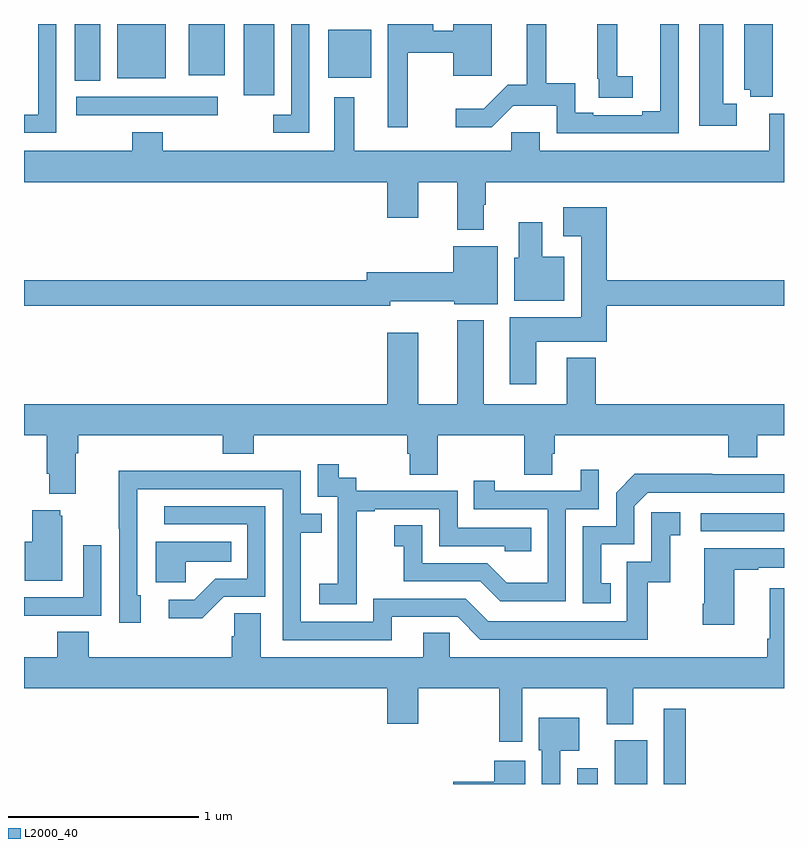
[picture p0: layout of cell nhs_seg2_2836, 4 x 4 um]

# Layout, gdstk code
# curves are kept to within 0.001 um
import gdstk
lib = gdstk.Library(unit=1e-6, precision=1e-09)
def R(c, l, rs):  # rectangles x0, y0, x1, y1
    for r in rs: c.add(gdstk.rectangle(r[:2], r[2:], *l))
def P(c, l, *ps):  # polygons
    for p in ps: c.add(gdstk.Polygon(p, *l))
L2000_40 = (2000, 40)

nhs_seg2_2836 = lib.new_cell('nhs_seg2_2836')
R(nhs_seg2_2836, L2000_40, [(261.911,645.8,262.021,645.883), (262.109,645.8,262.279,646.03), (262.368,645.8,262.484,646.195), (262.563,647.13,263,647.226), (259.275,649.32,260.02,649.416), (260.156,649.425,260.317,649.8), (259.268,649.501,259.402,649.8), (259.49,649.514,259.747,649.8), (260.6,649.517,260.827,649.771), (259.868,649.529,260.056,649.8)])
P(nhs_seg2_2836, L2000_40, [(262.75,649.38),(262.681,649.38),(262.681,649.8),(262.553,649.8),(262.553,649.265),(262.75,649.265)],
  [(262.446,649.8),(262.348,649.8),(262.349,649.34),(262.253,649.34),(262.253,649.32),(261.997,649.32),(261.997,649.334),(261.9,649.334),(261.9,649.487),(261.749,649.487),(261.749,649.8),(261.647,649.8),(261.647,649.48),(261.547,649.48),(261.421,649.354),(261.273,649.354),(261.273,649.257),(261.462,649.257),(261.575,649.37),(261.804,649.37),(261.804,649.224),(262.446,649.224)],
  [(261.019,649.648),(261.26,649.648),(261.26,649.527),(261.463,649.527),(261.463,649.8),(261.26,649.8),(261.26,649.765),(261.154,649.765),(261.154,649.8),(260.915,649.8),(260.915,649.257),(261.019,649.257)],
  [(262.204,649.526),(262.122,649.526),(262.122,649.8),(262.018,649.8),(262.018,649.513),(262.024,649.513),(262.024,649.411),(262.204,649.411)],
  [(259.17,649.8),(259.074,649.8),(259.074,649.323),(259,649.323),(259,649.227),(259.17,649.227)],
  [(260.502,649.8),(260.406,649.8),(260.406,649.323),(260.313,649.323),(260.313,649.227),(260.502,649.227)],
  [(262.942,649.8),(262.79,649.8),(262.79,649.454),(262.822,649.454),(262.822,649.417),(262.942,649.417)],
  [(260.737,649.414),(260.633,649.414),(260.633,649.132),(259.73,649.132),(259.73,649.231),(259.57,649.231),(259.57,649.132),(259,649.132),(259,648.968),(260.912,648.968),(260.912,648.78),(261.076,648.78),(261.076,648.968),(261.281,648.968),(261.281,648.716),(261.421,648.716),(261.421,648.848),(261.429,648.848),(261.429,648.968),(263,648.968),(263,649.327),(262.922,649.327),(262.922,649.132),(261.715,649.132),(261.715,649.23),(261.564,649.23),(261.564,649.132),(260.737,649.132)],
  [(261.697,648.128),(262.067,648.128),(262.067,648.316),(263,648.316),(263,648.452),(262.067,648.452),(262.067,648.835),(261.837,648.835),(261.837,648.683),(261.932,648.683),(261.932,648.256),(261.557,648.256),(261.557,647.904),(261.697,647.904)],
  [(261.844,648.574),(261.727,648.574),(261.727,648.757),(261.605,648.757),(261.605,648.57),(261.581,648.57),(261.581,648.344),(261.844,648.344)],
  [(260.928,648.341),(261.264,648.341),(261.264,648.326),(261.493,648.326),(261.493,648.631),(261.26,648.631),(261.26,648.493),(260.804,648.493),(260.804,648.452),(259,648.452),(259,648.316),(260.928,648.316)],
  [(261.634,647.428),(261.781,647.428),(261.781,647.538),(261.794,647.538),(261.794,647.636),(262.706,647.636),(262.706,647.519),(262.858,647.519),(262.858,647.636),(263,647.636),(263,647.8),(262.01,647.8),(262.01,648.043),(261.857,648.043),(261.857,647.8),(261.421,647.8),(261.421,648.241),(261.281,648.241),(261.281,647.8),(261.076,647.8),(261.076,648.175),(260.912,648.175),(260.912,647.8),(259,647.8),(259,647.636),(259.121,647.636),(259.121,647.434),(259.133,647.434),(259.133,647.327),(259.273,647.327),(259.273,647.54),(259.286,647.54),(259.286,647.636),(260.045,647.636),(260.045,647.537),(260.21,647.537),(260.21,647.636),(261.017,647.636),(261.017,647.538),(261.029,647.538),(261.029,647.428),(261.177,647.428),(261.177,647.636),(261.634,647.636)],
  [(260.751,646.951),(260.75,646.951),(260.75,647.235),(260.845,647.235),(260.845,647.247),(261.186,647.247),(261.186,647.052),(261.531,647.052),(261.531,647.025),(261.671,647.025),(261.671,647.148),(261.282,647.148),(261.282,647.343),(260.748,647.343),(260.748,647.412),(260.656,647.412),(260.656,647.482),(260.547,647.482),(260.547,647.313),(260.652,647.313),(260.652,647.084),(260.651,647.084),(260.651,646.855),(260.553,646.855),(260.553,646.745),(260.751,646.745)],
  [(261.852,647.247),(262.026,647.247),(262.026,647.455),(261.929,647.455),(261.929,647.343),(261.478,647.343),(261.478,647.395),(261.367,647.395),(261.367,647.247),(261.756,647.247),(261.756,646.858),(261.542,646.858),(261.438,646.962),(261.096,646.962),(261.096,647.161),(260.949,647.161),(260.949,647.051),(260.998,647.051),(260.998,646.866),(261.401,646.866),(261.506,646.761),(261.852,646.761)],
  [(260.935,646.68),(261.282,646.68),(261.402,646.56),(262.282,646.56),(262.282,646.863),(262.4,646.863),(262.4,647.109),(262.453,647.109),(262.453,647.23),(262.302,647.23),(262.302,646.971),(262.173,646.971),(262.173,646.656),(261.444,646.656),(261.324,646.776),(260.838,646.776),(260.838,646.653),(260.457,646.653),(260.457,647.122),(260.567,647.122),(260.567,647.223),(260.457,647.223),(260.457,647.448),(259.961,647.448),(259.961,647.45),(259.498,647.45),(259.498,647.143),(259.5,647.143),(259.5,646.65),(259.615,646.65),(259.615,646.794),(259.596,646.794),(259.597,647.352),(260.361,647.352),(260.361,646.557),(260.935,646.557)],
  [(262.088,646.857),(262.039,646.857),(262.039,647.061),(262.212,647.061),(262.212,647.262),(262.284,647.334),(263,647.334),(263,647.43),(262.622,647.43),(262.622,647.432),(262.214,647.432),(262.116,647.334),(262.116,647.157),(261.942,647.157),(261.942,646.752),(262.088,646.752)],
  [(260.005,646.738),(260.052,646.785),(260.271,646.785),(260.271,647.262),(259.737,647.262),(259.737,647.166),(260.175,647.166),(260.175,646.881),(260.006,646.881),(259.895,646.77),(259.761,646.77),(259.761,646.673),(259.939,646.673)],
  [(259.201,647.211),(259.19,647.211),(259.19,647.242),(259.043,647.242),(259.043,647.074),(259.004,647.074),(259.004,646.871),(259.201,646.871)],
  [(259.851,646.97),(260.09,646.97),(260.09,647.074),(259.694,647.074),(259.694,646.862),(259.851,646.862)],
  [(259.091,646.686),(259.407,646.686),(259.407,647.056),(259.311,647.056),(259.311,646.782),(259,646.782),(259,646.685),(259.091,646.685)],
  [(262.738,646.927),(262.865,646.927),(262.865,646.937),(263,646.937),(263,647.041),(262.58,647.041),(262.58,646.75),(262.573,646.75),(262.573,646.638),(262.738,646.638)],
  [(261.622,646.304),(262.067,646.304),(262.067,646.115),(262.207,646.115),(262.207,646.304),(263,646.304),(263,646.831),(262.925,646.831),(262.925,646.564),(262.913,646.564),(262.913,646.468),(261.24,646.468),(261.24,646.595),(261.101,646.595),(261.101,646.468),(260.245,646.468),(260.245,646.7),(260.106,646.7),(260.106,646.577),(260.093,646.577),(260.093,646.468),(259.34,646.468),(259.34,646.601),(259.175,646.601),(259.175,646.468),(259,646.468),(259,646.304),(260.912,646.304),(260.912,646.116),(261.076,646.116),(261.076,646.304),(261.502,646.304),(261.502,646.023),(261.622,646.023)],
  [(261.822,645.974),(261.922,645.974),(261.922,646.15),(261.71,646.15),(261.71,645.978),(261.726,645.978),(261.726,645.8),(261.822,645.8)],
  [(261.637,645.922),(261.476,645.922),(261.476,645.812),(261.258,645.812),(261.258,645.8),(261.637,645.8)])

lib.write_gds('nhs_seg2_2836.gds')
